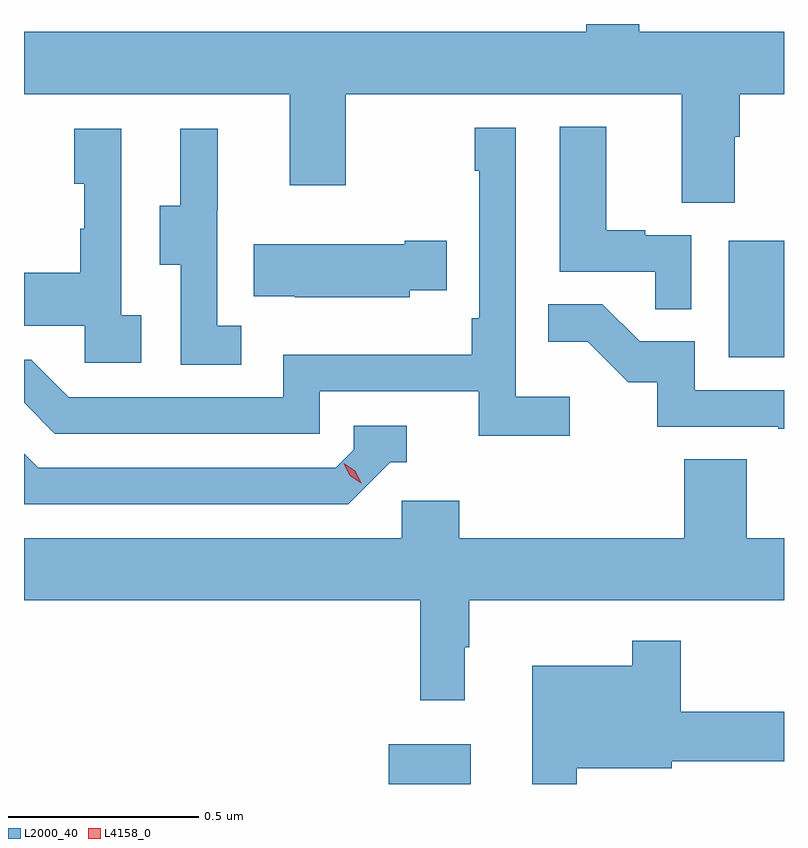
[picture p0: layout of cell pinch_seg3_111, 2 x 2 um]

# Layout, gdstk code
import gdstk
lib = gdstk.Library(unit=1e-6, precision=1e-09)
def R(c, l, rs):  # rectangles x0, y0, x1, y1
    for r in rs: c.add(gdstk.rectangle(r[:2], r[2:], *l))
def P(c, l, *ps):  # polygons
    for p in ps: c.add(gdstk.Polygon(p, *l))
L2000_40 = (2000, 40)
L4158_0 = (4158, 0)

pinch_seg3_111 = lib.new_cell('pinch_seg3_111')
R(pinch_seg3_111, L2000_40, [(1033.598,708.425,1033.813,708.529), (1034.492,709.548,1034.638,709.855)])
P(pinch_seg3_111, L2000_40, [(1034.509,710.128),(1034.522,710.128),(1034.522,710.24),(1034.638,710.24),(1034.638,710.404),(1034.257,710.404),(1034.257,710.425),(1034.117,710.425),(1034.117,710.404),(1032.638,710.404),(1032.638,710.24),(1033.337,710.24),(1033.337,710.001),(1033.485,710.001),(1033.485,710.24),(1034.369,710.24),(1034.369,709.954),(1034.509,709.954)],
  [(1034.394,709.869),(1034.273,709.869),(1034.273,709.882),(1034.17,709.882),(1034.17,710.155),(1034.048,710.155),(1034.048,709.773),(1034.299,709.773),(1034.299,709.675),(1034.394,709.675)],
  [(1034.074,709.444),(1033.932,709.444),(1033.932,710.152),(1033.824,710.152),(1033.824,710.039),(1033.836,710.039),(1033.836,709.651),(1033.816,709.651),(1033.816,709.555),(1033.32,709.555),(1033.32,709.443),(1032.756,709.443),(1032.657,709.542),(1032.638,709.542),(1032.638,709.428),(1032.719,709.347),(1033.416,709.347),(1033.416,709.458),(1033.835,709.458),(1033.835,709.342),(1034.074,709.342)],
  [(1033.21,709.631),(1033.146,709.631),(1033.146,709.935),(1033.148,709.935),(1033.148,710.149),(1033.049,710.149),(1033.049,709.947),(1032.995,709.947),(1032.995,709.792),(1033.05,709.792),(1033.05,709.528),(1033.21,709.528)],
  [(1032.946,709.658),(1032.894,709.658),(1032.894,710.149),(1032.77,710.149),(1032.77,710.004),(1032.796,710.004),(1032.796,709.886),(1032.786,709.886),(1032.786,709.771),(1032.638,709.771),(1032.638,709.631),(1032.798,709.631),(1032.798,709.533),(1032.946,709.533)],
  [(1033.653,709.724),(1033.751,709.724),(1033.751,709.854),(1033.64,709.854),(1033.64,709.846),(1033.243,709.846),(1033.243,709.709),(1033.351,709.709),(1033.351,709.706),(1033.653,709.706)],
  [(1034.638,709.461),(1034.403,709.461),(1034.403,709.59),(1034.258,709.59),(1034.16,709.688),(1034.017,709.688),(1034.017,709.589),(1034.121,709.589),(1034.228,709.482),(1034.305,709.482),(1034.305,709.365),(1034.623,709.365),(1034.623,709.36),(1034.638,709.36)],
  [(1033.602,709.272),(1033.645,709.272),(1033.645,709.368),(1033.506,709.368),(1033.506,709.305),(1033.458,709.257),(1032.675,709.257),(1032.638,709.294),(1032.638,709.161),(1033.491,709.161)],
  [(1033.798,708.785),(1033.81,708.785),(1033.81,708.908),(1034.638,708.908),(1034.638,709.072),(1034.54,709.072),(1034.54,709.28),(1034.375,709.28),(1034.375,709.072),(1033.784,709.072),(1033.784,709.17),(1033.632,709.17),(1033.632,709.072),(1032.638,709.072),(1032.638,708.908),(1033.681,708.908),(1033.681,708.645),(1033.798,708.645)],
  [(1034.093,708.467),(1034.343,708.467),(1034.343,708.485),(1034.638,708.485),(1034.638,708.615),(1034.366,708.615),(1034.366,708.802),(1034.238,708.802),(1034.238,708.736),(1033.976,708.736),(1033.976,708.425),(1034.093,708.425)])
P(pinch_seg3_111, L4158_0, [(1033.526,709.216),(1033.495,709.236),(1033.48,709.269),(1033.48,709.269),(1033.48,709.269),(1033.51,709.249),(1033.526,709.217),(1033.526,709.216)])

lib.write_gds('pinch_seg3_111.gds')
